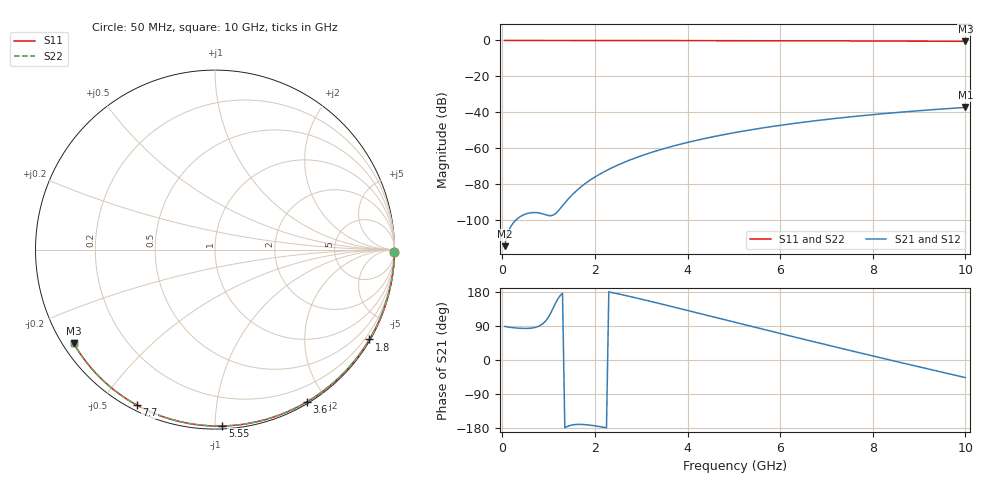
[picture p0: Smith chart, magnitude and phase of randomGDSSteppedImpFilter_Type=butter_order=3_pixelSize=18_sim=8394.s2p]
! freq	dB(S11)	phase(S11)	dB(S12)	phase(S12)
!  dB(S21)	phase(S21)	dB(S22)	phase(S22)
!S-par simulation data
#  GHz  S  DB  R 50
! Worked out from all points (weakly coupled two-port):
!   200 points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, 50 MHz to 10 GHz, reference 50 ohm
!   highest |S21| = -37.38 dB at 10 GHz (marker M1); lowest = -114.8 dB at 50 MHz (marker M2)
!   lowest |S11| = -0.5 dB at 10 GHz (marker M3), VSWR 35.19, Z = 1.55 - j15 ohm
!   |S11| at or under -10 dB: nowhere
!   |S22| runs from -0.5 to 0.0 dB; largest |S21 - S12| = 0
!   S11 on the Smith chart (normalised r, x): 50 MHz: open; 1.8 GHz: 0.03, -3.71; 3.6 GHz: 0.02, -1.77; 5.55 GHz: 0.02, -1.04; 7.7 GHz: 0.02, -0.62; 10 GHz: 0.03, -0.30
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0.05  -0.00 -0.9  -114.81 88.7  -114.81 88.7  -0.00 -0.9
0.45  -0.01 -7.7  -97.43 83.4  -97.43 83.4  -0.01 -7.7
0.9  -0.02 -15.2  -97.00 98.4  -97.00 98.4  -0.02 -15.2
1.3  -0.03 -21.9  -92.26 176.4  -92.26 176.4  -0.03 -21.9
1.75  -0.04 -29.4  -80.66 -170.3  -80.66 -170.3  -0.04 -29.4
1.8  -0.04 -30.2  -79.68 -170.7  -79.68 -170.7  -0.04 -30.2
1.95  -0.04 -32.6  -77.03 -172.8  -77.03 -172.8  -0.04 -32.6
2.1  -0.04 -35.1  -74.69 -175.7  -74.69 -175.7  -0.04 -35.1
2.3  -0.05 -38.3  -71.92 179.7  -71.92 179.7  -0.05 -38.3
2.5  -0.05 -41.5  -69.48 174.6  -69.48 174.6  -0.05 -41.5
2.9  -0.06 -47.9  -65.31 163.5  -65.31 163.5  -0.06 -47.9
3.4  -0.07 -55.7  -61.06 148.8  -61.06 148.8  -0.07 -55.7
3.6  -0.08 -58.8  -59.58 142.8  -59.58 142.8  -0.08 -58.8
4.3  -0.10 -69.4  -55.12 121.6  -55.12 121.6  -0.10 -69.4
5.05  -0.12 -80.4  -51.28 98.7  -51.28 98.7  -0.12 -80.4
5.55  -0.14 -87.6  -49.11 83.5  -49.11 83.5  -0.14 -87.6
6.1  -0.17 -95.3  -47.01 66.9  -47.01 66.9  -0.17 -95.3
6.7  -0.20 -103.5  -44.99 49.0  -44.99 49.0  -0.20 -103.5
7.7  -0.27 -116.8  -42.15 19.5  -42.15 19.5  -0.27 -116.8
8.35  -0.32 -125.2  -40.59 0.6  -40.59 0.6  -0.32 -125.3
9.2  -0.40 -136.2  -38.81 -23.8  -38.81 -23.8  -0.40 -136.2
10  -0.49 -146.5  -37.38 -46.5  -37.38 -46.5  -0.49 -146.5
